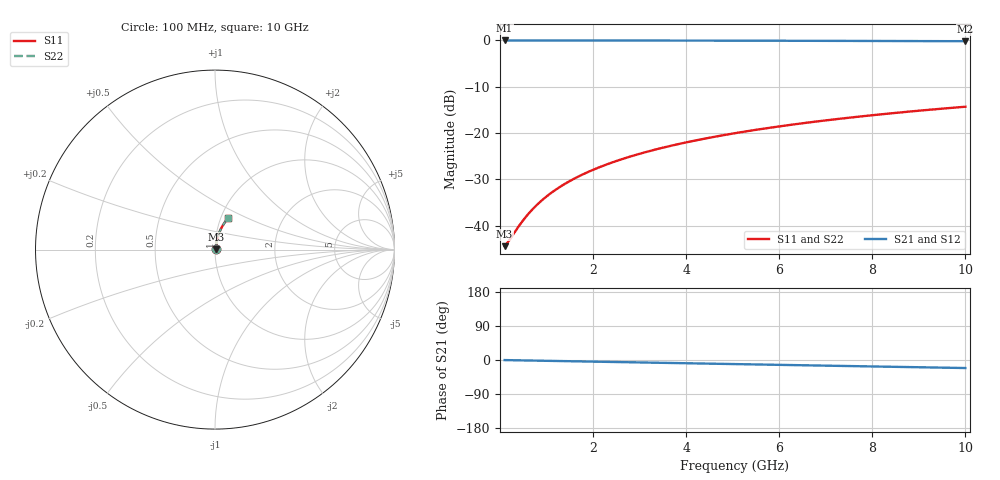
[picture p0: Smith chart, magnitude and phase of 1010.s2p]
# Hz S RI R 50.00
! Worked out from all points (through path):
!   100 points, 100 MHz to 10 GHz, reference 50 ohm
!   highest |S21| = -0.05 dB at 100 MHz (marker M1); lowest = -0.2 dB at 10 GHz (marker M2)
!   group delay of S21, straight-line fit = 5.89 ps
!   lowest |S11| = -44.4 dB at 100 MHz (marker M3), VSWR 1.01, Z = 50.6 + j0.199 ohm
!   |S11| at or under -10 dB: start of sweep to end of sweep
!   |S22| runs from -44.4 to -14.3 dB; largest |S21 - S12| = 0
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1e8  0.00569 0.00196  0.9943 -0.00371  0.9943 -0.00371  0.00569 0.00196
2e8  0.00575 0.00392  0.9942 -0.00743  0.9942 -0.00743  0.00575 0.00392
4e8  0.00589 0.00785  0.9941 -0.0149  0.9941 -0.0149  0.00589 0.00785
5e8  0.00597 0.00981  0.994 -0.0186  0.994 -0.0186  0.00597 0.00981
6e8  0.00607 0.0118  0.9939 -0.0223  0.9939 -0.0223  0.00607 0.0118
7e8  0.00618 0.0137  0.9937 -0.026  0.9937 -0.026  0.00618 0.0137
8e8  0.0063 0.0157  0.9936 -0.0297  0.9936 -0.0297  0.0063 0.0157
1e9  0.00659 0.0196  0.9932 -0.0371  0.9932 -0.0371  0.00659 0.0196
1.2e9  0.00693 0.0235  0.9928 -0.0445  0.9928 -0.0445  0.00693 0.0235
1.5e9  0.00755 0.0294  0.9921 -0.0556  0.9921 -0.0556  0.00755 0.0294
1.8e9  0.0083 0.0352  0.9912 -0.0667  0.9912 -0.0667  0.0083 0.0352
2.1e9  0.00918 0.041  0.9901 -0.0778  0.9901 -0.0778  0.00918 0.041
2.5e9  0.0105 0.0487  0.9885 -0.0925  0.9885 -0.0925  0.0105 0.0487
2.9e9  0.0121 0.0564  0.9865 -0.1072  0.9865 -0.1072  0.0121 0.0564
3.4e9  0.0144 0.0659  0.9837 -0.1255  0.9837 -0.1255  0.0144 0.0659
4.2e9  0.0189 0.0808  0.9783 -0.1545  0.9783 -0.1545  0.0189 0.0808
5.1e9  0.0249 0.0973  0.971 -0.1868  0.971 -0.1868  0.0249 0.0973
5.9e9  0.0311 0.1115  0.9634 -0.2151  0.9634 -0.2151  0.0311 0.1115
6.7e9  0.0381 0.1253  0.9548 -0.243  0.9548 -0.243  0.0381 0.1253
7.5e9  0.046 0.1386  0.9452 -0.2704  0.9452 -0.2704  0.046 0.1386
8.4e9  0.0556 0.153  0.9332 -0.3006  0.9332 -0.3006  0.0556 0.153
1e10  0.075 0.1766  0.9092 -0.3526  0.9092 -0.3526  0.075 0.1766
